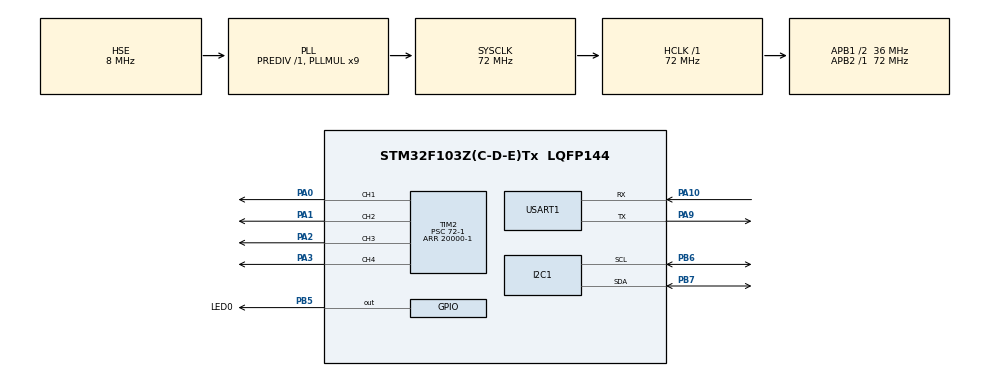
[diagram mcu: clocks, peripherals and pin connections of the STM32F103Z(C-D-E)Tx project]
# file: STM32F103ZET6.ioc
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I2C1.I2C_Mode=I2C_Fast
Mcu.Family=STM32F1
Mcu.Name=STM32F103Z(C-D-E)Tx
Mcu.Package=LQFP144
NVIC.PriorityGroup=NVIC_PRIORITYGROUP_4
NVIC.USART1_IRQn=true\:0\:0\:false\:false\:true\:true\:true\:true
OSC_IN.Mode=HSE-External-Oscillator
OSC_IN.Signal=RCC_OSC_IN
OSC_OUT.Mode=HSE-External-Oscillator
OSC_OUT.Signal=RCC_OSC_OUT
PA0-WKUP.Signal=S_TIM2_CH1_ETR
PA1.Signal=S_TIM2_CH2
PA10.Mode=Asynchronous
PA10.Signal=USART1_RX
PA13.Mode=Serial_Wire
PA13.Signal=SYS_JTMS-SWDIO
PA14.Mode=Serial_Wire
PA14.Signal=SYS_JTCK-SWCLK
PA2.Signal=S_TIM2_CH3
PA3.Signal=S_TIM2_CH4
PA9.Mode=Asynchronous
PA9.Signal=USART1_TX
PB5.GPIO_Label=LED0
PB5.Signal=GPIO_Output
PB6.Mode=I2C
PB6.Signal=I2C1_SCL
PB7.Mode=I2C
PB7.Signal=I2C1_SDA
ProjectManager.HeapSize=0x200
ProjectManager.StackSize=0x400
ProjectManager.TargetToolchain=MDK-ARM V5.32
RCC.AHBFreq_Value=72000000
RCC.APB1CLKDivider=RCC_HCLK_DIV2
RCC.APB1Freq_Value=36000000
RCC.APB1TimFreq_Value=72000000
RCC.APB2Freq_Value=72000000
RCC.APB2TimFreq_Value=72000000
RCC.HCLKFreq_Value=72000000
RCC.PLLMUL=RCC_PLL_MUL9
RCC.PLLSourceVirtual=RCC_PLLSOURCE_HSE
RCC.SYSCLKFreq_VALUE=72000000
RCC.SYSCLKSource=RCC_SYSCLKSOURCE_PLLCLK
RCC.USBFreq_Value=72000000
SH.S_TIM2_CH1_ETR.0=TIM2_CH1,PWM Generation1 CH1
SH.S_TIM2_CH2.0=TIM2_CH2,PWM Generation2 CH2
SH.S_TIM2_CH3.0=TIM2_CH3,PWM Generation3 CH3
SH.S_TIM2_CH4.0=TIM2_CH4,PWM Generation4 CH4
TIM2.AutoReloadPreload=TIM_AUTORELOAD_PRELOAD_DISABLE
TIM2.Channel-PWM\ Generation1\ CH1=TIM_CHANNEL_1
TIM2.Channel-PWM\ Generation2\ CH2=TIM_CHANNEL_2
TIM2.Channel-PWM\ Generation3\ CH3=TIM_CHANNEL_3
TIM2.Channel-PWM\ Generation4\ CH4=TIM_CHANNEL_4
TIM2.Period=20000-1
TIM2.Prescaler=72-1
USART1.VirtualMode=VM_ASYNC
VP_TIM2_VS_ClockSourceINT.Mode=Internal
board=custom

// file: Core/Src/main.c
/* USER CODE BEGIN Header */
/**
  ******************************************************************************
  * @file           : main.c
  * @brief          : Main program body
  ******************************************************************************
  * @attention
  *
  * Copyright (c) 2024 STMicroelectronics.
  * All rights reserved.
  *
  * This software is licensed under terms that can be found in the LICENSE file
  * in the root directory of this software component.
  * If no LICENSE file comes with this software, it is provided AS-IS.
  *
  ******************************************************************************
  */
/* USER CODE END Header */
#include "main.h"
#include "i2c.h"
#include "tim.h"
#include "usart.h"
#include "gpio.h"

/* USER CODE BEGIN Includes */
#include "oled.h"
#include "font.h"
#include "bmp.h"
/* USER CODE END Includes */

/* USER CODE BEGIN PM */
#define move_delay 150 //
#define move_delay_slow 300 //
#define move_speed_fast 2 //
#define move_speed 4 //
#define move_speed_slow 7 //
#define rest_time 30000U
/* USER CODE END PM */

/* USER CODE BEGIN PV */
uint8_t move_mode = '0';
uint8_t previous_mode = '0';
uint8_t flag_tick = 1;
uint32_t time_record = 0;
/* USER CODE END PV */

void SystemClock_Config(void);
/* USER CODE BEGIN PFP */
void Rbt_Init(void);
void Rbt_Init_Slow(void);
uint16_t angle_to_CCR(uint8_t angle);
uint8_t CCR_to_angle(uint16_t CCRR);
uint16_t angle3_to_CCR(uint8_t angle);
uint8_t CCR_to_angle3(uint16_t CCRR);
//uint32_t time_record_now = 0;
void move_forward(void);
void move_behind(void);
void move_right(void);
void move_left(void);
void move_swing(void);
void move_stretch(void);
void move_test(void);
void move_sleep_w(void);
void move_sleep_p(void);
void move_two_hands(void);
void lan_yao(void);
void two_legs_down_in(void);
void two_legs_down_out(void);
void butt_up(void);
void move_random();
/* USER CODE END PFP */

/* USER CODE BEGIN 0 */
void HAL_UART_RxCpltCallback(UART_HandleTypeDef *huart) {
	//重新设置中断

	if (move_mode == 'f') {
		//OLED_Clear();
		OLED_DrawBMP(0, 0, 128, 8, BMP2); //前进
	} else if (move_mode == 'b') {
		OLED_DrawBMP(0, 0, 128, 8, BMP2); //后退
	} else if (move_mode == 'l') {
		OLED_DrawBMP(0, 0, 128, 8, BMP4); //左转
	} else if (move_mode == 'r') {
		OLED_DrawBMP(0, 0, 128, 8, BMP3); //右转
	} else if (move_mode == 'w') {
		OLED_DrawBMP(0, 0, 128, 8, BMP_very_happy); //摇摆
	}
	time_record = HAL_GetTick();
	flag_tick = 1;
	HAL_UART_Receive_IT(&huart1, &move_mode, 1);
}
/* USER CODE END 0 */

int main(void)
{

  /* MCU Configuration--------------------------------------------------------*/

  /* Reset of all peripherals, Initializes the Flash interface and the Systick. */
  HAL_Init();

  /* Configure the system clock */
  SystemClock_Config();

  /* Initialize all configured peripherals */
  MX_GPIO_Init();
  MX_TIM2_Init();
  MX_USART1_UART_Init();
  MX_I2C1_Init();
  /* USER CODE BEGIN 2 */
    OLED_Init();
	HAL_TIM_PWM_Start(&htim2, TIM_CHANNEL_1); //右前腿
	HAL_TIM_PWM_Start(&htim2, TIM_CHANNEL_2); //右后腿
	HAL_TIM_PWM_Start(&htim2, TIM_CHANNEL_3); //左前腿
	HAL_TIM_PWM_Start(&htim2, TIM_CHANNEL_4); //左后腿
	HAL_UART_Receive_IT(&huart1, &move_mode, 1); //
	OLED_DrawBMP(0, 0, 128, 8, BMP1); //立正
    uint8_t i=0;
  /* USER CODE END 2 */

  /* Infinite loop */
  /* USER CODE BEGIN WHILE */
    while (1)
    {

        // if (i>=180) {
        //     i=0;
        // }
        // __HAL_TIM_SetCompare(&htim2, TIM_CHANNEL_1, angle_to_CCR(i));
		// HAL_Delay(1000);
	    // __HAL_TIM_SetCompare(&htim2, TIM_CHANNEL_2, angle_to_CCR(i));
		// HAL_Delay(1000);
        // __HAL_TIM_SetCompare(&htim2, TIM_CHANNEL_3, angle_to_CCR(i));
		// HAL_Delay(1000);
	    // __HAL_TIM_SetCompare(&htim2, TIM_CHANNEL_4, angle_to_CCR(i));
		// HAL_Delay(1000);
        // i = i+20;
		//HAL_Delay(1);
		// time_record_now = HAL_GetTick() + 1000;
		if (move_mode == 'f') { //前进
			move_forward();
			HAL_GPIO_TogglePin(LED0_GPIO_Port, LED0_Pin);
			previous_mode = move_mode;
		} else if (move_mode == 'b') { //后退
			move_behind();
			HAL_GPIO_TogglePin(LED0_GPIO_Port, LED0_Pin);
			previous_mode = move_mode;
		} else if (move_mode == 'l') { //左转
			move_left();
			HAL_GPIO_TogglePin(LED0_GPIO_Port, LED0_Pin);
			previous_mode = move_mode;
		} else if (move_mode == 'r') { //右转
			move_right();
			HAL_GPIO_TogglePin(LED0_GPIO_Port, LED0_Pin);
			previous_mode = move_mode;
		} else if (move_mode == 'w') { //摇摆
			move_swing();
			HAL_GPIO_TogglePin(LED0_GPIO_Port, LED0_Pin);
			previous_mode = move_mode;
		} else if (move_mode == '5') { //立正
			OLED_DrawBMP(0, 0, 128, 8, BMP1);
			Rbt_Init();
			HAL_GPIO_TogglePin(LED0_GPIO_Port, LED0_Pin);
			previous_mode = move_mode;
			move_mode = '0';
		} else if (move_mode == 'q' && previous_mode != '0') { //起身
			Rbt_Init_Slow();
			HAL_GPIO_TogglePin(LED0_GPIO_Port, LED0_Pin);
			previous_mode = move_mode;
			move_mode = '0';
		} else if (move_mode == 's' && previous_mode != 's') { //坐下
			Rbt_Init_Slow();
			OLED_DrawBMP(0, 0, 128, 8, BMP2);
			move_stretch();
			OLED_DrawBMP(0, 0, 128, 8, BMP_miao);
			HAL_GPIO_TogglePin(LED0_GPIO_Port, LED0_Pin);
			previous_mode = move_mode;
			move_mode = '0';
		} else if (move_mode == 'j') { //交替抬手
			Rbt_Init();  // 表情
			move_two_hands();
			HAL_GPIO_TogglePin(LED0_GPIO_Port, LED0_Pin);
			previous_mode = move_mode;
			move_mode = '0';
		} else if (move_mode == 'y') { //伸懒腰
			Rbt_Init_Slow();  // 表情
			HAL_Delay(move_delay_slow);
			OLED_DrawBMP(0, 0, 128, 8, BMP_happy);
			lan_yao();
			OLED_DrawBMP(0, 0, 128, 8, BMP1);
			HAL_GPIO_TogglePin(LED0_GPIO_Port, LED0_Pin);
			previous_mode = move_mode;
			move_mode = '0';
		} else if (move_mode == '1') { //抬头
			Rbt_Init_Slow();  // 表情
			HAL_Delay(move_delay);
			two_legs_down_in();
			OLED_DrawBMP(0, 0, 128, 8, BMP_tiao_pi);
			HAL_GPIO_TogglePin(LED0_GPIO_Port, LED0_Pin);
			previous_mode = move_mode;
			move_mode = '0';
		} else if (move_mode == '9') { //撅腚
			Rbt_Init_Slow();  // 表情
			HAL_Delay(move_delay);
			OLED_DrawBMP(0, 0, 128, 8, BMP_mihu);
			butt_up();
			HAL_GPIO_TogglePin(LED0_GPIO_Port, LED0_Pin);
			previous_mode = move_mode;
			move_mode = '0';
		} else if (move_mode == 'p' && previous_mode != 'p') { //趴下睡觉
			if (previous_mode != '5' && previous_mode != 'q') {
				Rbt_Init_Slow();
				HAL_Delay(move_delay_slow);
			}
			move_sleep_p();
			OLED_DrawBMP(0, 0, 128, 8, BMP_sleep_p);
			previous_mode = move_mode;
			move_mode = '0';
		} else if (move_mode == '2' && previous_mode != '2') { //卧下睡觉
			if (previous_mode != '5' && previous_mode != 'q') {
				Rbt_Init_Slow();
				HAL_Delay(move_delay_slow);
			}
			move_sleep_w();
			OLED_DrawBMP(0, 0, 128, 8, BMP_sleep_w);
			previous_mode = move_mode;
			move_mode = '0';
		} else if ((HAL_GetTick() + 1000) - time_record > rest_time) {
			if(flag_tick == 1){
				HAL_GPIO_WritePin(LED0_GPIO_Port, LED0_Pin, GPIO_PIN_SET);
				OLED_NewFrame();
				OLED_ShowFrame();
				flag_tick = 0;
			}

		}

	}
    /* USER CODE END WHILE */

}

void SystemClock_Config(void)
{
  RCC_OscInitTypeDef RCC_OscInitStruct = {0};
  RCC_ClkInitTypeDef RCC_ClkInitStruct = {0};

  /** Initializes the RCC Oscillators according to the specified parameters
  * in the RCC_OscInitTypeDef structure.
  */
  RCC_OscInitStruct.OscillatorType = RCC_OSCILLATORTYPE_HSE;
  RCC_OscInitStruct.HSEState = RCC_HSE_ON;
  RCC_OscInitStruct.HSEPredivValue = RCC_HSE_PREDIV_DIV1;
  RCC_OscInitStruct.HSIState = RCC_HSI_ON;
  RCC_OscInitStruct.PLL.PLLState = RCC_PLL_ON;
  RCC_OscInitStruct.PLL.PLLSource = RCC_PLLSOURCE_HSE;
  RCC_OscInitStruct.PLL.PLLMUL = RCC_PLL_MUL9;
  if (HAL_RCC_OscConfig(&RCC_OscInitStruct) != HAL_OK)
  {
    Error_Handler();
  }

  /** Initializes the CPU, AHB and APB buses clocks
  */
  RCC_ClkInitStruct.ClockType = RCC_CLOCKTYPE_HCLK|RCC_CLOCKTYPE_SYSCLK
                              |RCC_CLOCKTYPE_PCLK1|RCC_CLOCKTYPE_PCLK2;
  RCC_ClkInitStruct.SYSCLKSource = RCC_SYSCLKSOURCE_PLLCLK;
  RCC_ClkInitStruct.AHBCLKDivider = RCC_SYSCLK_DIV1;
  RCC_ClkInitStruct.APB1CLKDivider = RCC_HCLK_DIV2;
  RCC_ClkInitStruct.APB2CLKDivider = RCC_HCLK_DIV1;

  if (HAL_RCC_ClockConfig(&RCC_ClkInitStruct, FLASH_LATENCY_2) != HAL_OK)
  {
    Error_Handler();
  }
}

/* USER CODE BEGIN 4 */
uint16_t angle_to_CCR(uint8_t angle) {
	return angle * 2000 / 180 + 500;
}

uint8_t CCR_to_angle(uint16_t CCRR) {
	return (CCRR - 500) * 180 / 2000;
}

uint16_t angle3_to_CCR(uint8_t angle) {
	return angle * 2000 / 180 + 600;
}

uint8_t CCR_to_angle3(uint16_t CCRR) {
	return (CCRR - 600) * 180 / 2000;
}

void Rbt_Init(void) {
	__HAL_TIM_SetCompare(&htim2, TIM_CHANNEL_1,angle_to_CCR(90));
	__HAL_TIM_SetCompare(&htim2, TIM_CHANNEL_2,angle_to_CCR(90));
	__HAL_TIM_SetCompare(&htim2, TIM_CHANNEL_3,angle3_to_CCR(90));
	__HAL_TIM_SetCompare(&htim2, TIM_CHANNEL_4,angle_to_CCR(90));
	HAL_Delay(100);
}

void Rbt_Init_Slow(void) {
	if (previous_mode == '0')
		return;
	OLED_DrawBMP(0, 0, 128, 8, BMP1);
	uint8_t angle_1, angle_2, angle_3, angle_4;
	angle_1 = CCR_to_angle(TIM2->CCR1);
	angle_3 = CCR_to_angle3(TIM2->CCR3);
	angle_2 = CCR_to_angle(TIM2->CCR2);
	angle_4 = CCR_to_angle(TIM2->CCR4);
	while (angle_1 != 90 || angle_3 != 90 || angle_2 != 90 || angle_4 != 90) {
		if (angle_1 > 90) {
			--angle_1;
			__HAL_TIM_SET_COMPARE(&htim2, TIM_CHANNEL_1, angle_to_CCR(angle_1));
		} else if (angle_1 < 90) {
			++angle_1;
			__HAL_TIM_SET_COMPARE(&htim2, TIM_CHANNEL_1, angle_to_CCR(angle_1));
		}
		//
		if (angle_3 > 90) {
			--angle_3;
			__HAL_TIM_SET_COMPARE(&htim2, TIM_CHANNEL_3,
					angle3_to_CCR(angle_3));
		} else if (angle_3 < 90) {
			++angle_3;
			__HAL_TIM_SET_COMPARE(&htim2, TIM_CHANNEL_3,
					angle3_to_CCR(angle_3));
		}
		//
		if (angle_2 > 90) {
			--angle_2;
			__HAL_TIM_SET_COMPARE(&htim2, TIM_CHANNEL_2, angle_to_CCR(angle_2));
		} else if (angle_2 < 90) {
			++angle_2;
			__HAL_TIM_SET_COMPARE(&htim2, TIM_CHANNEL_2, angle_to_CCR(angle_2));
		}
		//
		if (angle_4 > 90) {
			--angle_4;
			__HAL_TIM_SET_COMPARE(&htim2, TIM_CHANNEL_4, angle_to_CCR(angle_4));
		} else if (angle_4 < 90) {
			++angle_4;
			__HAL_TIM_SET_COMPARE(&htim2, TIM_CHANNEL_4, angle_to_CCR(angle_4));
		}
		HAL_Delay(move_speed_slow);
	}

}

void move_forward(void) {
	__HAL_TIM_SetCompare(&htim2, TIM_CHANNEL_1,angle_to_CCR(135));
	__HAL_TIM_SetCompare(&htim2, TIM_CHANNEL_4,angle_to_CCR(45));
	HAL_Delay(move_delay);
	__HAL_TIM_SetCompare(&htim2, TIM_CHANNEL_2,angle_to_CCR(45));
	__HAL_TIM_SetCompare(&htim2, TIM_CHANNEL_3,angle3_to_CCR(135));
	HAL_Delay(move_delay);
	__HAL_TIM_SetCompare(&htim2, TIM_CHANNEL_1,angle_to_CCR(90));
	__HAL_TIM_SetCompare(&htim2, TIM_CHANNEL_4,angle_to_CCR(90));
	HAL_Delay(move_delay);
	__HAL_TIM_SetCompare(&htim2, TIM_CHANNEL_2,angle_to_CCR(90));
	__HAL_TIM_SetCompare(&htim2, TIM_CHANNEL_3,angle3_to_CCR(90));

	HAL_Delay(move_delay);
	__HAL_TIM_SetCompare(&htim2, TIM_CHANNEL_2,angle_to_CCR(135));
	__HAL_TIM_SetCompare(&htim2, TIM_CHANNEL_3,angle3_to_CCR(45));
	HAL_Delay(move_delay);
	__HAL_TIM_SetCompare(&htim2, TIM_CHANNEL_1,angle_to_CCR(45));
	__HAL_TIM_SetCompare(&htim2, TIM_CHANNEL_4,angle_to_CCR(135));
	HAL_Delay(move_delay);
	__HAL_TIM_SetCompare(&htim2, TIM_CHANNEL_2,angle_to_CCR(90));
	__HAL_TIM_SetCompare(&htim2, TIM_CHANNEL_3,angle3_to_CCR(90));
	HAL_Delay(move_delay);
	__HAL_TIM_SetCompare(&htim2, TIM_CHANNEL_1,angle_to_CCR(90));
	__HAL_TIM_SetCompare(&htim2, TIM_CHANNEL_4,angle_to_CCR(90));
	HAL_Delay(move_delay);
}

void move_behind(void) {
	__HAL_TIM_SetCompare(&htim2, TIM_CHANNEL_1,angle_to_CCR(45));
	__HAL_TIM_SetCompare(&htim2, TIM_CHANNEL_4,angle_to_CCR(135));
	HAL_Delay(move_delay);
	__HAL_TIM_SetCompare(&htim2, TIM_CHANNEL_2,angle_to_CCR(135));
	__HAL_TIM_SetCompare(&htim2, TIM_CHANNEL_3,angle3_to_CCR(45));
	HAL_Delay(move_delay);
	__HAL_TIM_SetCompare(&htim2, TIM_CHANNEL_1,angle_to_CCR(90));
	__HAL_TIM_SetCompare(&htim2, TIM_CHANNEL_4,angle_to_CCR(90));
	HAL_Delay(move_delay);
	__HAL_TIM_SetCompare(&htim2, TIM_CHANNEL_2,angle_to_CCR(90));
	__HAL_TIM_SetCompare(&htim2, TIM_CHANNEL_3,angle3_to_CCR(90));

	HAL_Delay(move_delay);
	__HAL_TIM_SetCompare(&htim2, TIM_CHANNEL_2,angle_to_CCR(45));
	__HAL_TIM_SetCompare(&htim2, TIM_CHANNEL_3,angle3_to_CCR(135));
	HAL_Delay(move_delay);
	__HAL_TIM_SetCompare(&htim2, TIM_CHANNEL_1,angle_to_CCR(135));
	__HAL_TIM_SetCompare(&htim2, TIM_CHANNEL_4,angle_to_CCR(45));
	HAL_Delay(move_delay);
	__HAL_TIM_SetCompare(&htim2, TIM_CHANNEL_2,angle_to_CCR(90));
	__HAL_TIM_SetCompare(&htim2, TIM_CHANNEL_3,angle3_to_CCR(90));
	HAL_Delay(move_delay);
	__HAL_TIM_SetCompare(&htim2, TIM_CHANNEL_1,angle_to_CCR(90));
	__HAL_TIM_SetCompare(&htim2, TIM_CHANNEL_4,angle_to_CCR(90));
	HAL_Delay(move_delay);
}

void move_right(void) {
	__HAL_TIM_SetCompare(&htim2, TIM_CHANNEL_1,angle_to_CCR(45));
	__HAL_TIM_SetCompare(&htim2, TIM_CHANNEL_4,angle_to_CCR(45));
	HAL_Delay(move_delay);
	__HAL_TIM_SetCompare(&htim2, TIM_CHANNEL_2,angle_to_CCR(135));
	__HAL_TIM_SetCompare(&htim2, TIM_CHANNEL_3,angle3_to_CCR(135));
	HAL_Delay(move_delay);
	__HAL_TIM_SetCompare(&htim2, TIM_CHANNEL_1,angle_to_CCR(90));
	__HAL_TIM_SetCompare(&htim2, TIM_CHANNEL_4,angle_to_CCR(90));
	HAL_Delay(move_delay);
	__HAL_TIM_SetCompare(&htim2, TIM_CHANNEL_2,angle_to_CCR(90));
	__HAL_TIM_SetCompare(&htim2, TIM_CHANNEL_3,angle3_to_CCR(90));
	HAL_Delay(move_delay);
}

void move_left(void) {
	__HAL_TIM_SetCompare(&htim2, TIM_CHANNEL_2,angle_to_CCR(135));
	__HAL_TIM_SetCompare(&htim2, TIM_CHANNEL_3,angle3_to_CCR(135));
	HAL_Delay(move_delay);
	__HAL_TIM_SetCompare(&htim2, TIM_CHANNEL_1,angle_to_CCR(45));
	__HAL_TIM_SetCompare(&htim2, TIM_CHANNEL_4,angle_to_CCR(45));
	HAL_Delay(move_delay);
	__HAL_TIM_SetCompare(&htim2, TIM_CHANNEL_2,angle_to_CCR(90));
	__HAL_TIM_SetCompare(&htim2, TIM_CHANNEL_3,angle3_to_CCR(90));
	HAL_Delay(move_delay);
	__HAL_TIM_SetCompare(&htim2, TIM_CHANNEL_1,angle_to_CCR(90));
	__HAL_TIM_SetCompare(&htim2, TIM_CHANNEL_4,angle_to_CCR(90));
	HAL_Delay(move_delay);
}

void move_swing(void) {
	__HAL_TIM_SetCompare(&htim2, TIM_CHANNEL_1,angle_to_CCR(135));
	__HAL_TIM_SetCompare(&htim2, TIM_CHANNEL_2,angle_to_CCR(135));
	__HAL_TIM_SetCompare(&htim2, TIM_CHANNEL_3,angle3_to_CCR(45));
	__HAL_TIM_SetCompare(&htim2, TIM_CHANNEL_4,angle_to_CCR(45));
	HAL_Delay(220);
	__HAL_TIM_SetCompare(&htim2, TIM_CHANNEL_1,angle_to_CCR(45));
	__HAL_TIM_SetCompare(&htim2, TIM_CHANNEL_2,angle_to_CCR(45));
	__HAL_TIM_SetCompare(&htim2, TIM_CHANNEL_3,angle3_to_CCR(135));
	__HAL_TIM_SetCompare(&htim2, TIM_CHANNEL_4,angle_to_CCR(135));
	HAL_Delay(220);
}
void move_stretch(void) {
	if (TIM2->CCR1 < angle_to_CCR(155) && TIM2->CCR3 > angle3_to_CCR(25)) {
		for (uint8_t i = 0; i < 70; i++) {
			__HAL_TIM_SetCompare(&htim2, TIM_CHANNEL_1,angle_to_CCR(90+i));
			__HAL_TIM_SetCompare(&htim2, TIM_CHANNEL_3,angle3_to_CCR(90-i));
			HAL_Delay(move_speed);
		}
		HAL_Delay(1000);
		for (uint8_t i = 0; i < 70; i++) {
			__HAL_TIM_SetCompare(&htim2, TIM_CHANNEL_1,angle_to_CCR(160-i));
			__HAL_TIM_SetCompare(&htim2, TIM_CHANNEL_3,angle3_to_CCR(20+i));
			HAL_Delay(move_speed);
		}
		for (uint8_t i = 0; i < 65; i++) {
			__HAL_TIM_SetCompare(&htim2, TIM_CHANNEL_2,angle_to_CCR(90+i));
			__HAL_TIM_SetCompare(&htim2, TIM_CHANNEL_4,angle_to_CCR(90-i));
			HAL_Delay(move_speed);
		}
		for (uint8_t i = 0; i < 20; i++) {
			__HAL_TIM_SetCompare(&htim2, TIM_CHANNEL_1,angle_to_CCR(90-i));
			__HAL_TIM_SetCompare(&htim2, TIM_CHANNEL_3,angle3_to_CCR(90+i));
			HAL_Delay(move_speed);
		}
		HAL_Delay(1000);
		for (uint8_t i = 1; i <= 60; i++) {
					__HAL_TIM_SetCompare(&htim2, TIM_CHANNEL_1,angle_to_CCR(70+i));
					HAL_Delay(move_speed);
				}
		// __HAL_TIM_SetCompare(&htim2, TIM_CHANNEL_1,angle_to_CCR(135)); // 右前腿 right front leg
		HAL_Delay(1000);
		__HAL_TIM_SetCompare(&htim2, TIM_CHANNEL_1,angle_to_CCR(180));
		HAL_Delay(500);
		__HAL_TIM_SetCompare(&htim2, TIM_CHANNEL_1,angle_to_CCR(130));
		HAL_Delay(500);
		__HAL_TIM_SetCompare(&htim2, TIM_CHANNEL_1,angle_to_CCR(180));
		HAL_Delay(500);
		__HAL_TIM_SetCompare(&htim2, TIM_CHANNEL_1,angle_to_CCR(130));
		HAL_Delay(500);
		__HAL_TIM_SetCompare(&htim2, TIM_CHANNEL_1,angle_to_CCR(70));
	}
}

void move_sleep_w(void) {

	for (uint8_t i = 0; i < 75; i++) {
		__HAL_TIM_SetCompare(&htim2, TIM_CHANNEL_1,angle_to_CCR(90-i)); // 15   右前腿 right front leg
		__HAL_TIM_SetCompare(&htim2, TIM_CHANNEL_3,angle3_to_CCR(90+i)); // 165  左前腿 right front leg
		HAL_Delay(move_speed);
	}

	for (uint8_t i = 0; i < 75; i++) {
		__HAL_TIM_SetCompare(&htim2, TIM_CHANNEL_2,angle_to_CCR(90+i)); // 165 右后腿 right front leg
		__HAL_TIM_SetCompare(&htim2, TIM_CHANNEL_4,angle_to_CCR(90-i)); // 15 左后腿 right front leg
		HAL_Delay(move_speed);
	}

}

void move_sleep_p(void) {
	for (uint8_t i = 0; i < 75; i++) {
		__HAL_TIM_SetCompare(&htim2, TIM_CHANNEL_1,angle_to_CCR(90+i)); // 165 右前腿 right front leg
		__HAL_TIM_SetCompare(&htim2, TIM_CHANNEL_3,angle3_to_CCR(90-i)); // 15 左前腿 right front leg
		HAL_Delay(move_speed);
	}
	for (uint8_t i = 0; i < 75; i++) {
		__HAL_TIM_SetCompare(&htim2, TIM_CHANNEL_2,angle_to_CCR(90-i)); // 15
		__HAL_TIM_SetCompare(&htim2, TIM_CHANNEL_4,angle_to_CCR(90+i)); // 165
		HAL_Delay(move_speed);
	}
}

void move_two_hands(void) {

	__HAL_TIM_SetCompare(&htim2, TIM_CHANNEL_3,angle3_to_CCR(20));
	__HAL_TIM_SetCompare(&htim2, TIM_CHANNEL_2,angle3_to_CCR(20));
	HAL_Delay(move_delay);

	__HAL_TIM_SetCompare(&htim2, TIM_CHANNEL_3,angle3_to_CCR(90));
	__HAL_TIM_SetCompare(&htim2, TIM_CHANNEL_2,angle3_to_CCR(90));
	HAL_Delay(move_delay);

	__HAL_TIM_SetCompare(&htim2, TIM_CHANNEL_1,angle_to_CCR(160));
	__HAL_TIM_SetCompare(&htim2, TIM_CHANNEL_4,angle_to_CCR(160));

	HAL_Delay(move_delay);
	for (uint8_t i = 1; i <= 90; i++) {
		__HAL_TIM_SetCompare(&htim2, TIM_CHANNEL_1,angle_to_CCR(90));
		__HAL_TIM_SetCompare(&htim2, TIM_CHANNEL_4,angle_to_CCR(90));
	}
	HAL_Delay(move_delay);
//	for (uint8_t i = 0; i < 90; i++) {
//		__HAL_TIM_SetCompare(&htim2, TIM_CHANNEL_3,angle3_to_CCR(90-i));
//		HAL_Delay(move_speed_fast / 2);
//	}
//	HAL_Delay(move_delay);
//	for (uint8_t i = 1; i <= 90; i++) {
//		__HAL_TIM_SetCompare(&htim2, TIM_CHANNEL_3,angle3_to_CCR(i));
//		HAL_Delay(move_speed_fast / 2);
//	}
//	HAL_Delay(move_delay);
//	for (uint8_t i = 0; i < 90; i++) {
//		__HAL_TIM_SetCompare(&htim2, TIM_CHANNEL_1,angle_to_CCR(90+i));
//		HAL_Delay(move_speed_fast / 2);
//	}
//	HAL_Delay(move_delay);
//	for (uint8_t i = 1; i <= 90; i++) {
//		__HAL_TIM_SetCompare(&htim2, TIM_CHANNEL_1,angle_to_CCR(180-i));
//		HAL_Delay(move_speed_fast / 2);
//	}
//	HAL_Delay(move_delay);

}

void butt_up(void) { //撅腚
	for (uint8_t i = 0; i < 75; i++) {
		__HAL_TIM_SetCompare(&htim2, TIM_CHANNEL_1,angle_to_CCR(90+i));
		__HAL_TIM_SetCompare(&htim2, TIM_CHANNEL_3,angle3_to_CCR(90-i));
		__HAL_TIM_SetCompare(&htim2, TIM_CHANNEL_2,angle_to_CCR(90+i/3));
		__HAL_TIM_SetCompare(&htim2, TIM_CHANNEL_4,angle_to_CCR(90-i/3));
		HAL_Delay(move_speed);
	}
}

void two_legs_down_in(void) { // 抬头 内
	for (uint8_t i = 0; i < 20; i++) {
		__HAL_TIM_SetCompare(&htim2, TIM_CHANNEL_1,angle_to_CCR(90-i));
		__HAL_TIM_SetCompare(&htim2, TIM_CHANNEL_3,angle3_to_CCR(90+i));
		HAL_Delay(move_speed);
	}
	for (uint8_t i = 0; i < 65; i++) {
		__HAL_TIM_SetCompare(&htim2, TIM_CHANNEL_2,angle_to_CCR(90+i));
		__HAL_TIM_SetCompare(&htim2, TIM_CHANNEL_4,angle_to_CCR(90-i));
		HAL_Delay(move_speed);
	}
}

void lan_yao(void) {
	for (uint8_t i = 0; i < 75; i++) {
		__HAL_TIM_SetCompare(&htim2, TIM_CHANNEL_1,angle_to_CCR(90+i));
		__HAL_TIM_SetCompare(&htim2, TIM_CHANNEL_3,angle3_to_CCR(90-i));
		__HAL_TIM_SetCompare(&htim2, TIM_CHANNEL_2,angle_to_CCR(90+i/2));
		__HAL_TIM_SetCompare(&htim2, TIM_CHANNEL_4,angle_to_CCR(90-i/2));
		HAL_Delay(move_speed + 1);
	}

	HAL_Delay(move_delay * 10);
	for (uint8_t i = 1; i < 75; i++) {
		__HAL_TIM_SetCompare(&htim2, TIM_CHANNEL_1,angle_to_CCR(165-i));
		__HAL_TIM_SetCompare(&htim2, TIM_CHANNEL_3,angle3_to_CCR(15+i));
		__HAL_TIM_SetCompare(&htim2, TIM_CHANNEL_2,angle_to_CCR(127-i/2)); // 15
		__HAL_TIM_SetCompare(&htim2, TIM_CHANNEL_4,angle_to_CCR(53+i/2)); // 165
		HAL_Delay(move_speed);
	}
	HAL_Delay(move_delay);

}
/* USER CODE END 4 */

void Error_Handler(void)
{
  __disable_irq();
  while (1)
  {
  }
}
